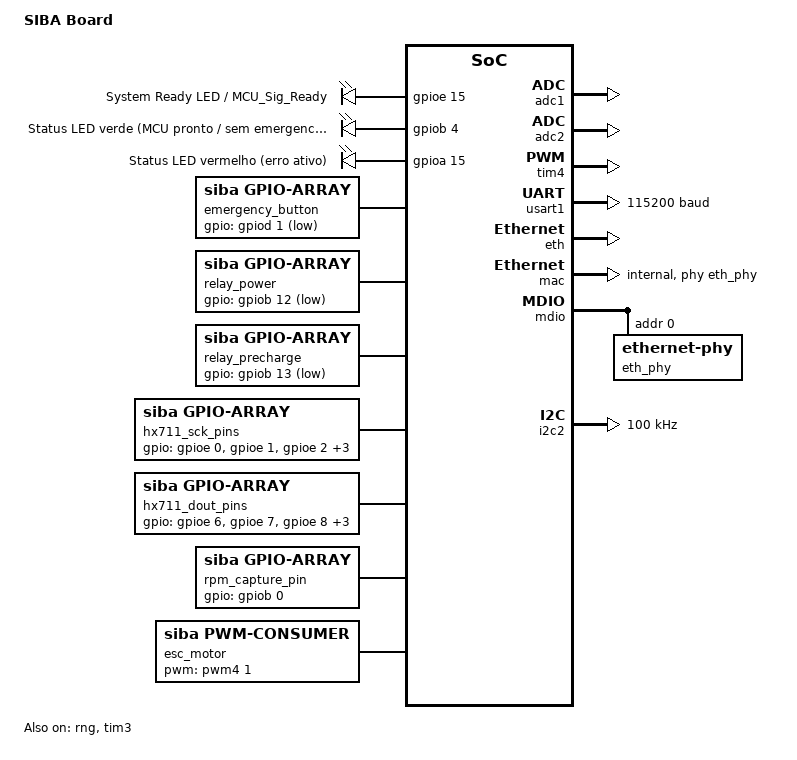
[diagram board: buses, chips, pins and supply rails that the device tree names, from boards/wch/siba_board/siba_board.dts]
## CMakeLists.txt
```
cmake_minimum_required(VERSION 3.20.0)
find_package(Zephyr REQUIRED HINTS $ENV{ZEPHYR_BASE})
project(SIBA)

# Modo native_sim / POSIX (ver CONFIG_ARCH_POSIX): a placa real (CH32V307 +
# driver ADC custom + GPIO bit-bang + PWM/TIM4 + TIM3 + Ethernet MAC) não
# existe nesse alvo — mas em vez de manter um HAL paralelo (HAL_mock.c,
# removido), HAL.c roda nos dois alvos: ADC usa o emulador in-tree
# zephyr,adc-emul sob o MESMO nodelabel `adc1` (ver native_sim.overlay/
# native_sim.conf — API genérica adc_channel_setup/adc_read_async, sem
# alteração); ESC/RPM/HX711 (PWM, TIM3 raw-MMIO, GPIO bit-bang — sem
# substituto in-tree viável fora do framework de teste FFF) ganham pequenos
# blocos `#ifdef CONFIG_ARCH_POSIX` sintéticos isolados dentro do próprio
# HAL.c. NCI.c continua o mesmo nos dois alvos: em native_sim,
# boards/native_sim.conf liga os "Offloaded sockets" (NSOS), que repassam
# zsock_socket/bind/sendto direto para os sockets BSD do host (127.0.0.1) —
# então o firmware troca pacotes UDP de verdade com Aplicacao_Pi sem
# precisar de hardware. Ver CLAUDE.md/HW.md "Mock mode (native_sim)" e
# Aplicacao_Pi/CLAUDE.md.
target_sources(app PRIVATE
    src/main.c

    # OS
    lib/OS/OSSI.c
    lib/OS/TCKEC.c
    lib/OS/NCI.c
    lib/OS/HAL.c
    lib/OS/CMD_Core.c

    # SYS
    lib/SYS/Sys.c
    lib/SYS/Battery_Manager.c
    lib/SYS/Propeller_Manager.c
    lib/SYS/Security_Manager.c
    lib/SYS/Log_Manager.c
    # Ferramenta de bancada — fora do produto final (ver Kconfig).
    $<$<BOOL:${CONFIG_SIBA_TEST_SHELL}>:lib/SYS/Test_Shell.c>
    lib/SYS/NVM.c
    lib/SYS/Observer_Manager.c
)

if(NOT CONFIG_ARCH_POSIX)
    # Driver ADC out-of-tree — adicionado direto em `app` (linkado com
    # --whole-archive) em vez de zephyr_library_named(): uma lib estática
    # separada não entrava na linha de link de zephyr_pre0.elf, então o
    # linker descartava adc_ch32v307.c por completo e `adc1` acabava
    # resolvendo para o driver upstream adc_ch32v00x.c (também
    # DT_DRV_COMPAT wch_adc, compilado incondicionalmente) — síncrono-only,
    # sem .read_async, causando jalr por ponteiro NULL em
    # HAL_thread_ADC_fn (ver CONFIG_ADC_CH32V00X=n em prj.conf).
    target_sources(app PRIVATE drivers/adc/adc_ch32v307.c)

    # Caminho quente (observador a cada quadro de 6,83 µs): -O2 em vez do -Os
    # global, e -fno-math-errno para o sqrtf virar fsqrt.s (sem chamada).
    # Medido com -Os: 9,2 µs por quadro, lotes descartados.
    set_source_files_properties(lib/SYS/Observer_Manager.c lib/OS/HAL.c
        PROPERTIES COMPILE_OPTIONS "-O2;-fno-math-errno")

    # Amostragem de 41,5 ciclos (código 4): quadro = 3 × (41,5 + 12,5) / 18 MHz
    # = 9,0 µs, lote de 256 = 2304 µs. Com 28,5 ciclos o lote era 1750 µs e o
    # observador (~1475 µs por lote) deixava só 16 % de folga. Mudou aqui,
    # mudar OBS_TS_NS (Observer_Manager.h) e refazer o autotune com o Ts novo.
    target_compile_definitions(app PRIVATE CH32_ADC_SMP=4)

    # O ADC da SIBA mede as fases do motor (mesma cadeia da SAME): usa os
    # padrões do driver, SMP = 28,5 ciclos (quadro de ~6,58 µs) e lotes de
    # 256 quadros (~1,7 ms por interrupção), igual à SAME.
endif()

target_include_directories(app PRIVATE
    lib/OS
    lib/Application
    lib/SYS
    drivers
)
```

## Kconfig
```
mainmenu "SIBA Firmware"

source "Kconfig.zephyr"

menu "SIBA application"

config SIBA_NET_STATUS_UART
	bool "Imprime status de rede e telemetria na UART a cada 5 s"
	default n
	help
	  Quando habilitado, um worker na siba_wq imprime a cada 5 s:
	  status da conexão, IP configurado, células de carga, bateria,
	  rpm e error_code. Útil para bancada sem a GUI conectada.

endmenu
```

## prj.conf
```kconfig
CONFIG_GPIO=y
CONFIG_PINCTRL=y
CONFIG_PWM=y
CONFIG_COUNTER=y
CONFIG_REBOOT=y
CONFIG_I2C=y
CONFIG_SPI=y

# ADC
CONFIG_ADC=y
CONFIG_ADC_ASYNC=y
CONFIG_ADC_LOG_LEVEL_DBG=n
# Driver upstream adc_ch32v00x.c também usa DT_DRV_COMPAT "wch,adc" e tem
# "default y depends on DT_HAS_WCH_ADC_ENABLED" — sem desabilitar aqui, ele
# vence a ligação com o nó `adc1` (é compilado incondicionalmente como parte
# da lib zephyr) e o linker descarta nosso libadc_ch32v307.a por completo
# (nada mais referencia símbolos só definidos nele). Resultado: adc1 fica
# associado à API do ch32v00x, que é síncrona only (sem .read_async) — uma
# chamada a adc_read_async() vira um jalr através de ponteiro NULL, que pula
# para o flash aliasado em 0x0 e reentra no código de boot, corrompendo o
# .bss em runtime (causa real do crash mcause=6/mtval=0x828067).
CONFIG_ADC_CH32V00X=n

# Rede
CONFIG_NETWORKING=y
CONFIG_NET_IPV4=y
CONFIG_NET_UDP=y
CONFIG_NET_L2_ETHERNET=y
CONFIG_NET_CONFIG_SETTINGS=y
CONFIG_NET_CONFIG_INIT_TIMEOUT=0
CONFIG_NET_CONFIG_MY_IPV4_ADDR="169.254.97.200"
CONFIG_NET_CONFIG_MY_IPV4_NETMASK="255.255.0.0"
CONFIG_NET_CONFIG_PEER_IPV4_ADDR="169.254.255.255"
CONFIG_NET_SOCKETS=y

# Build
CONFIG_ENTROPY_GENERATOR=y
CONFIG_TEST_RANDOM_GENERATOR=y
CONFIG_BUILD_OUTPUT_BIN=y

# LOGs e USART
CONFIG_CONSOLE=y
CONFIG_SERIAL=y
CONFIG_UART_CONSOLE=y
CONFIG_LOG_BACKEND_UART=y
CONFIG_LOG=y
CONFIG_LOG_DEFAULT_LEVEL=3
CONFIG_PRINTK=y

# Shell de teste (lib/SYS/Test_Shell.c) — usa o backend serial sobre o
# zephyr,shell-uart já declarado no .dts (mesmo UART do console/log).
# Ferramenta de bancada: no produto final, zerar os TRÊS.
CONFIG_SHELL=n


CONFIG_HEAP_MEM_POOL_SIZE=8192

# Ponto flutuante: HAL, HX711, calibração usam float. cbprintf para %f nos logs.
CONFIG_FPU=y
CONFIG_FPU_SHARING=y
CONFIG_CBPRINTF_FP_SUPPORT=y

# Log buffer padrão (1024 B) causa "N messages dropped" no boot com FPU_SHARING
CONFIG_LOG_BUFFER_SIZE=4096

# ISR de DMA com FPU_SHARING salva 32 regs FP — stack padrão insuficiente
CONFIG_ISR_STACK_SIZE=4096

# Sysworkq processa ETH carrier_on (~1-2 ms) enquanto a ISR de ADC dispara a
# ~150 kHz. Com FPU_SHARING cada ISR salva 32 regs FP (128 B) na stack da
# thread interrompida. Stack padrão (4096 B) transborda → carrier_on falha em
# silêncio → IF_UP nunca dispara → rede fica OFFLINE para sempre.
CONFIG_SYSTEM_WORKQUEUE_STACK_SIZE=8192

# A logging_thread formata %f com FPU_SHARING ativo — stack padrão insuficiente
CONFIG_LOG_PROCESS_THREAD_STACK_SIZE=2048
CONFIG_STACK_SENTINEL=y
CONFIG_THREAD_NAME=y
CONFIG_MAIN_STACK_SIZE=8192

# Idle thread: com FPU_SHARING o _isr_wrapper salva 80 B de ESF na stack da
# thread interrompida — stack padrão de 256 B pode extrapolar no fim da RAM.
CONFIG_IDLE_STACK_SIZE=512

# Debug de bancada: imprime status de rede + telemetria na UART a cada 5 s.
# Desligado: a cada 5 s a aquisição do ADC ficava 40–65 ms sem interrupção
# (medido com o vetor de eventos); testando se a causa é esta impressão.
CONFIG_SIBA_NET_STATUS_UART=n

# Sequência de energização: tempo entre fechar a pré-carga (PB13) e fechar a
# potência (PB12). Rpc=100 ohm e Cesc=2000 uF dão tau=0,2 s (critério de
# projeto: 5 tau = 1 s); os 5 s abaixo são margem, a refinar em bancada.
CONFIG_SIBA_RELAY_PRECHARGE_MS=5000
```

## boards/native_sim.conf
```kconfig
# Overlay de configuração para `west build -b native_sim` (modo mock —
# ver CLAUDE.md/HW.md "Mock mode (native_sim)"). Sobrepõe prj.conf.
#
# native_sim roda o firmware como um binário POSIX comum (host Linux) —
# não existe CH32V307, ADC custom, GPIO bit-bang do HX711, PWM/TIM4 do ESC,
# TIM3 de RPM nem MAC Ethernet. HAL_mock.c substitui HAL.c (ver
# CMakeLists.txt: `if(NOT CONFIG_ARCH_POSIX)`) e não usa nenhum driver de
# hardware — só gera dados sintéticos e publica via OSSI.
#
# REDE: em vez de desligar (como antes), usamos os "Offloaded sockets" do
# Native Simulator (NSOS) — ver doc/connectivity/networking/native_sim_setup.rst
# "Using offloaded sockets". O zsock_socket()/bind()/sendto() de NCI.c são
# redirecionados DIRETO para os sockets BSD do host Linux — sem TAP, sem
# privilégio root, sem stack de rede do Zephyr. O processo do firmware vira
# literalmente "mais um programa" no localhost: `127.0.0.1`. Com isso, o
# app Python (Aplicacao_Pi/Communication_Data/Ethernet.py) consegue trocar
# pacotes UDP de verdade com o firmware rodando como binário no host — ver
# CLAUDE.md "Modo Mock (native_sim)" e Aplicacao_Pi/CLAUDE.md.
CONFIG_ETH_NATIVE_TAP=n
CONFIG_NET_L2_ETHERNET=n
CONFIG_NET_DRIVERS=y
CONFIG_NETWORKING=y
CONFIG_NET_IPV4=y
CONFIG_NET_UDP=y
CONFIG_NET_SOCKETS=y
CONFIG_NET_SOCKETS_OFFLOAD=y
CONFIG_NET_NATIVE_OFFLOADED_SOCKETS=y
CONFIG_NET_IPV6_DAD=n

# IPs "internos" do host (loopback) — substituem os link-local fixos da
# placa real (169.254.97.x, que dependem do MAC Ethernet físico).
# NCI.c referencia esses símbolos diretamente (zsock_inet_pton); manter
# CONFIG_NET_CONFIG_SETTINGS=y só para que eles tenham valor — o NSOS não
# usa interface/endereço configurado, ele repassa os sockets ao host.
# IP de loopback DISTINTO por placa (último octeto do IP link-local real
# 169.254.97.200 -> 127.0.0.200), para SIBA e SAME não compartilharem o mesmo
# 127.0.0.1 ao rodar juntos em native_sim. A Aplicacao_Pi usa o mesmo
# mapeamento (ver Communication_Data/manager.py::_native_loopback).
CONFIG_NET_CONFIG_SETTINGS=y
CONFIG_NET_CONFIG_MY_IPV4_ADDR="127.0.0.200"
CONFIG_NET_CONFIG_PEER_IPV4_ADDR="127.0.0.200"
CONFIG_NET_CONFIG_NEED_IPV4=y

# O driver custom adc_ch32v307 (out-of-tree, MMIO+DMA do CH32V307) não
# compila para native_sim — mas em vez de desligar o ADC e trocar HAL.c
# inteiro por um mock (abordagem antiga, HAL_mock.c), ligamos o emulador
# ADC in-tree do Zephyr (CONFIG_ADC_EMUL) sob o MESMO nodelabel `adc1`
# (ver boards/native_sim.overlay) — HAL.c usa só a API genérica
# adc_channel_setup/adc_read_async, então roda sem nenhuma alteração.
# CONFIG_ADC_ASYNC continua ligado pois HAL_thread_ADC_fn usa adc_read_async.
CONFIG_ADC=y
CONFIG_ADC_ASYNC=y
CONFIG_ADC_EMUL=y
CONFIG_ADC_LOG_LEVEL_DBG=n

# I2C1 (PB8/PB9 remap, ver HAL_I2C_*) — driver wch,i2c não compila para
# native_sim, mas o nodelabel `i2c1` existe via zephyr,i2c-emul-controller
# (ver boards/native_sim.overlay), mesma estratégia do ADC acima. CONFIG_EMUL
# é o framework genérico de dispositivos emulados exigido por CONFIG_I2C_EMUL.
CONFIG_I2C=y
CONFIG_EMUL=y
CONFIG_I2C_EMUL=y

# PWM (ESC/TIM4) e Counter (RPM/TIM3) NÃO têm substituto in-tree viável
# para um build de firmware normal:
#   - zephyr,fake-pwm (CONFIG_PWM_FAKE) é FFF-based e exige
#     subsys/testsuite/include/zephyr/fff.h — só existe em builds
#     Twister/ztest, não em app comum (erro: "zephyr/fff.h: arquivo
#     inexistente" ao tentar habilitar aqui)
#   - HAL.c acessa o TIM3 (RPM) via MMIO bruto em endereço físico fixo
#     (0x40000400 — não existe em POSIX) e não há driver Zephyr para o
#     compatible "wch,gptm-counter" usado no .dts real
# Por isso esses dois ficam DESLIGADOS aqui — em vez de um nó/driver
# emulado, HAL_ESC_*/HAL_RPM_* ganham um pequeno bloco
# `#ifdef CONFIG_ARCH_POSIX` dentro do próprio HAL.c (modelo synthetic
# equivalente ao do antigo HAL_mock.c, isolado e mínimo — só essas duas
# peças realmente não têm como rodar "sem mudança nenhuma" em POSIX).
#
# CONFIG_GPIO continua ligado: native_sim tem gpio_emul, usado pelo
# fallback do relé em Battery_Manager (DT_ALIAS(relay0) ausente).
CONFIG_PINCTRL=n
CONFIG_PWM=n
CONFIG_COUNTER=n

# Sem isso, todo "%f"/"%.2f" em LOG_*/shell_print sai como texto literal
# (CBPRINTF_FP_SUPPORT default é "y if FPU", e FPU não vem ligado por
# padrão em native_sim mesmo o host tendo FPU de verdade) — quase todo
# log/print do SIBA usa float (sensores, calibração, etc.), então sem
# isso o shell fica ilegível em native_sim.
CONFIG_FPU=y

# prj.conf liga CONFIG_LOG_BACKEND_UART=y para a placa real (único backend
# de log lá). Em native_sim o board já seleciona CONFIG_LOG_BACKEND_NATIVE_POSIX
# por padrão (escreve direto no stdout do host, sem passar pelo driver de
# UART) — com os dois backends ativos ao mesmo tempo cada linha de log saía
# duplicada E competia pelo mesmo UART usado pelo shell (CONFIG_SHELL_BACKEND_SERIAL),
# o que impedia o prompt "uart:~$" de aparecer/funcionar com `-uart_stdinout`.
# Desligamos o backend de UART aqui para deixar o UART livre só para o shell.
CONFIG_LOG_BACKEND_UART=n

# O shell fica desligado na placa (economia de memória), mas o native_sim o
# usa para o comando btn e para `<placa> native shell`.
CONFIG_SHELL=y
CONFIG_SHELL_BACKEND_SERIAL=y
CONFIG_SIBA_TEST_SHELL=y
```

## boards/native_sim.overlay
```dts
#include <zephyr/dt-bindings/i2c/i2c.h>
#include <zephyr/dt-bindings/gpio/gpio.h>

/*
 * Overlay de devicetree para `west build -b native_sim`.
 *
 * Na SIBA, o HAL usa ISR callback do driver adc_ch32v307 (não adc_emul) e
 * o path native_sim contorna o ADC completamente via timer + writes diretos
 * nos atomics adc1_raw[]/adc2_raw[]. Por isso não é necessário nó adc-emul.
 *
 * i2c2 → zephyr,i2c-emul-controller, mesmo nodelabel que siba_board.dts usa
 * (PB10/PB11). Sem dispositivos I2C reais no barramento emulado:
 * HAL_I2C_Read/Write/Scan funcionam, apenas não encontram nada a responder.
 *
 * Relay e GPIO de hardware (PB12/PB13) → stubs #ifdef CONFIG_ARCH_POSIX no
 * HAL.c (sem nó DTS necessário no overlay).
 *
 * ESC/RPM/HX711 continuam com seus blocos #ifdef CONFIG_ARCH_POSIX dentro
 * do HAL.c (sem equivalente in-tree utilizável fora de builds Twister/ztest).
 */

/ {
    i2c2: i2c@120 {
        compatible = "zephyr,i2c-emul-controller";
        reg = <0x120 4>;
        clock-frequency = <I2C_BITRATE_STANDARD>;
        #address-cells = <1>;
        #size-cells = <0>;
        #forward-cells = <1>;
        status = "okay";
    };
};

/*
 * LEDs de status sobre o GPIO emulado (gpio0).
 *
 * Security_Manager.c usa `led_red` e NCI.c usa `led_green` com
 * GPIO_DT_SPEC_GET direto, sem guarda #ifdef CONFIG_ARCH_POSIX — diferente
 * do HAL, que estubla tudo. Sem estes dois nodelabels o build de native_sim
 * não liga. Na siba_board são PA15 e PB4; aqui, pinos do gpio_emul a partir
 * do 1 (o 0 já é o led_0 que a própria native_sim declara).
 */
&leds {
    led_red: led_red {
        gpios = <&gpio0 1 GPIO_ACTIVE_HIGH>;
        label = "LED vermelho (emulado)";
    };

    led_green: led_green {
        gpios = <&gpio0 2 GPIO_ACTIVE_HIGH>;
        label = "LED verde (emulado)";
    };
};
```

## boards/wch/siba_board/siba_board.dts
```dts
/dts-v1/;
#include <wch/ch32v307/ch32v307vc.dtsi>
#include <zephyr/dt-bindings/gpio/gpio.h>
#include <zephyr/dt-bindings/pinctrl/ch32v20x_30x-pinctrl.h>
#include <zephyr/dt-bindings/pwm/pwm.h>
#include <zephyr/dt-bindings/clock/ch32v20x_30x-clocks.h>
#include <zephyr/dt-bindings/i2c/i2c.h>
#include <zephyr/dt-bindings/spi/spi.h>

#define CH32V20X_V30X_PINMUX_ADC1_RM 0
#define CH32V20X_V30X_PINMUX_ADC2_RM 0
/* I2C2 não tem remap no AFIO (pinos fixos PB10/PB11) */
#define CH32V20X_V30X_PINMUX_I2C2_RM 0

/ {
    model = "SIBA Board";
    compatible = "wch,ch32v307";

    chosen {
        zephyr,sram = &sram0;
        zephyr,flash = &flash0;
        zephyr,console = &usart1;
        zephyr,shell-uart = &usart1;
    };

    aliases {
        led0 = &ready_pin;
    };

    /* PE15 — saída: LED EXTERNO de "sistema pronto" (MCU_Sig_Ready).
     * Aceso quando não há emergência ativa nem erro no error_code; é o
     * sinal visual de que o operador pode rodar o ensaio. Acionado pelo
     * Security_Manager via HAL_Ready_Led_Set(). */
    leds {
        compatible = "gpio-leds";
        ready_pin: ready_pin {
            gpios = <&gpioe 15 GPIO_ACTIVE_HIGH>;
            label = "System Ready LED / MCU_Sig_Ready";
        };
        led_green: led_green {
            gpios = <&gpiob 4 GPIO_ACTIVE_HIGH>;
            label = "Status LED verde (MCU pronto / sem emergencia)";
        };
        led_red: led_red {
            gpios = <&gpioa 15 GPIO_ACTIVE_HIGH>;
            label = "Status LED vermelho (erro ativo)";
        };
    };

    /* PD1 — entrada: SINAL DE EMERGÊNCIA (circuito externo).
     * Nível físico no pino: 0 V = desliga (emergência), 3 V = liga (pode
     * rodar) — o sinal de "liga" é ativo alto. O nó descreve a EMERGÊNCIA,
     * então GPIO_ACTIVE_LOW: a API lógica do Zephyr (gpio_pin_get_dt)
     * devolve 1 quando o pino está em 0 V — o HAL não repete a inversão.
     * Configurado com pull-DOWN interno: fio rompido/solto = 0 V =
     * emergência (falha segura). */
    emergency_button: emergency-button {
        compatible = "siba,gpio-array";
        gpios = <&gpiod 1 GPIO_ACTIVE_LOW>;
    };

    /* ── Relés de potência ─────────────────────────────────────────────── *
     * Sequência de energização obrigatória (ver Security_Manager):         *
     *   LIGAR:   relay_precharge ON → espera 3 s → relay_power ON         *
     *   DESLIGAR: relay_power OFF → relay_precharge OFF                   *
     * A pré-carga limita a corrente de inrush nos capacitores do ESC.    *
     * Lógica INVERTIDA no driver dos relés: 0 no pino = relé fechado.    *
     * GPIO_ACTIVE_LOW absorve a inversão — o HAL continua usando         *
     * gpio_pin_set_dt(…, 1) para "fechar" e GPIO_OUTPUT_INACTIVE (pino   *
     * em 1) para abrir no boot.                                          */
    relay_power: relay-power {
        compatible = "siba,gpio-array";
        gpios = <&gpiob 12 GPIO_ACTIVE_LOW>;
    };

    relay_precharge: relay-precharge {
        compatible = "siba,gpio-array";
        gpios = <&gpiob 13 GPIO_ACTIVE_LOW>;
    };

    /* ── ADC dual simultâneo (master=ADC1, slave=ADC2) ─────────────────── *
     * ⚠ NÃO MONTADO nesta versão da placa (tempo de montagem): o uso está  *
     * desligado em lib/OS/HAL_prm.h (HAL_DISABLE_ADC). Os nós ficam aqui   *
     * para religar sem mexer no DTS.                                       *
     * ADC1 master: PA0=Pitot, PA1=termistor_bat, PA3=termistor_motor       *
     * ADC2 slave:  PC3=v_batt, PC4=i_batt, PC2=reserva                    *
     * ADC2 não tem linha DMA própria no CH32V307 — o resultado sai pela    *
     * transferência de 32 bits do ADC1 (bits [31:16]=ADC2, [15:0]=ADC1).  *
     * O driver detecta modo dual pela ausência de `dmas` no nó adc2.      */
    adc1: adc@40012400 {
        compatible = "wch,adc";
        reg = <0x40012400 0x400>;
        clocks = <&rcc CH32V20X_V30X_CLOCK_ADC1>;
        interrupt-parent = <&pfic>;
        interrupts = <34>;
        dmas = <&dma1 1>;
        dma-names = "rx";
        pinctrl-0 = <&adc1_default>;
        pinctrl-names = "default";
        status = "okay";
        #io-channel-cells = <1>;
    };

    adc2: adc@40012800 {
        compatible = "wch,adc";
        reg = <0x40012800 0x400>;
        clocks = <&rcc CH32V20X_V30X_CLOCK_ADC2>;
        interrupt-parent = <&pfic>;
        interrupts = <34>;
        pinctrl-0 = <&adc2_default>;
        pinctrl-names = "default";
        status = "okay";
        #io-channel-cells = <1>;
    };

    /* ── HX711 × 6 células de carga ────────────────────────────────────── *
     * PE0..PE5 = PD_SCK (clock, saída)  — uma por célula                   *
     * PE6..PE11 = DOUT  (dado serial, entrada) — uma por célula            */
    hx711_sck_pins: hx711-sck-pins {
        compatible = "siba,gpio-array";
        gpios = <&gpioe 0 GPIO_ACTIVE_HIGH>,
                <&gpioe 1 GPIO_ACTIVE_HIGH>,
                <&gpioe 2 GPIO_ACTIVE_HIGH>,
                <&gpioe 3 GPIO_ACTIVE_HIGH>,
                <&gpioe 4 GPIO_ACTIVE_HIGH>,
                <&gpioe 5 GPIO_ACTIVE_HIGH>;
    };

    hx711_dout_pins: hx711-dout-pins {
        compatible = "siba,gpio-array";
        gpios = <&gpioe 6  GPIO_ACTIVE_HIGH>,
                <&gpioe 7  GPIO_ACTIVE_HIGH>,
                <&gpioe 8  GPIO_ACTIVE_HIGH>,
                <&gpioe 9  GPIO_ACTIVE_HIGH>,
                <&gpioe 10 GPIO_ACTIVE_HIGH>,
                <&gpioe 11 GPIO_ACTIVE_HIGH>;
    };

    /* ── RPM (TIM3 CH3 / PB0, input capture) ────────────────────────── */
    rpm_capture_pin: rpm-capture-pin {
        compatible = "siba,gpio-array";
        gpios = <&gpiob 0 GPIO_ACTIVE_HIGH>;
    };

    /* ── ESC PWM (TIM4 CH1 / PB6, 50 Hz) ───────────────────────────── */
    tim3: timer@40000400 {
        compatible = "wch,gptm";
        reg = <0x40000400 0x400>;
        clocks = <&rcc CH32V20X_V30X_CLOCK_TIM3>;
        interrupt-parent = <&pfic>;
        interrupts = <45>;
        channels = <4>;
        status = "okay";
        prescaler = <0>;
    };

    tim4: timer@40000800 {
        compatible = "wch,gptm";
        reg = <0x40000800 0x400>;
        clocks = <&rcc CH32V20X_V30X_CLOCK_TIM4>;
        interrupt-parent = <&pfic>;
        interrupts = <46>;
        channels = <4>;
        prescaler = <143>;
        status = "okay";

        pwm4: pwm {
            compatible = "wch,gptm-pwm";
            #pwm-cells = <3>;
            pinctrl-0 = <&tim4_ch1_default>;
            pinctrl-names = "default";
            status = "okay";
        };
    };

    esc_motor: esc-motor {
        compatible = "siba,pwm-consumer";
        pwms = <&pwm4 1 PWM_USEC(20000) PWM_POLARITY_NORMAL>;
    };

};

/* ==================================================================== *
 * PINCTRL                                                               *
 * ==================================================================== */

&pinctrl {

    /* ADC1 master: PA0=CH0(Pitot), PA1=CH1(termistor_bat), PA3=CH3(termistor_motor)
     * PA2 é CS do W25Q — não usar como ADC.
     * PA5/PA6/PA7 são SPI1 (W25Q) — não usar como ADC.                    */
    adc1_default: adc1_default {
        group1 { pinmux = <CH32V20X_V30X_PINMUX_DEFINE(PA, 0, ADC1, 0)>; };  /* CH0  - Pitot (air_speed) */
        group2 { pinmux = <CH32V20X_V30X_PINMUX_DEFINE(PA, 1, ADC1, 0)>; };  /* CH1  - termistor bateria */
        group3 { pinmux = <CH32V20X_V30X_PINMUX_DEFINE(PA, 3, ADC1, 0)>; };  /* CH3  - termistor motor */
    };

    /* ADC2 slave (dual mode, sem DMA próprio):
     * PC3=CH13(v_batt), PC4=CH14(i_batt), PC2=CH12(reserva)
     * PC0/PC1 são LinkLED/ACTLED do PHY ETH interno — não usar como ADC. */
    adc2_default: adc2_default {
        group1 { pinmux = <CH32V20X_V30X_PINMUX_DEFINE(PC, 3, ADC2, 0)>; };  /* CH13 - v_batt */
        group2 { pinmux = <CH32V20X_V30X_PINMUX_DEFINE(PC, 4, ADC2, 0)>; };  /* CH14 - i_batt */
        group3 { pinmux = <CH32V20X_V30X_PINMUX_DEFINE(PC, 2, ADC2, 0)>; };  /* CH12 - reserva */
    };

    /* SPI1 — W25Q flash (PA5=SCK, PA6=MISO, PA7=MOSI; PA2=CS via GPIO) */
    spi1_default: spi1_default {
        group1 {
            pinmux = <CH32V20X_V30X_PINMUX_DEFINE(PA, 5, SPI1, 0)>;  /* SCK  */
            drive-push-pull;
            slew-rate = "max-speed-50mhz";
        };
        group2 {
            pinmux = <CH32V20X_V30X_PINMUX_DEFINE(PA, 6, SPI1, 0)>;  /* MISO */
            bias-pull-up;
        };
        group3 {
            pinmux = <CH32V20X_V30X_PINMUX_DEFINE(PA, 7, SPI1, 0)>;  /* MOSI */
            drive-push-pull;
            slew-rate = "max-speed-50mhz";
        };
    };

    /* I2C2 — EEPROM FT24C32A (PB10=SCL, PB11=SDA) + expansão futura.
     * Open-drain com pull-up externo. PB11 não conflita com relay_precharge
     * (PB13) — são pinos distintos.                                       */
    i2c2_default: i2c2_default {
        group1 {
            pinmux = <CH32V20X_V30X_PINMUX_DEFINE(PB, 10, I2C2, 0)>;
            output-high;
            drive-open-drain;
        };
        group2 {
            pinmux = <CH32V20X_V30X_PINMUX_DEFINE(PB, 11, I2C2, 0)>;
            output-high;
            drive-open-drain;
        };
    };

    usart1_default: usart1_default {
        group1 {
            pinmux = <USART1_TX_PA9_0>;
            output-high;
            drive-push-pull;
            slew-rate = "max-speed-10mhz";
        };
        group2 {
            pinmux = <USART1_RX_PA10_0>;
            bias-pull-up;
        };
    };

    /* PB0 sem pull — o sensor de RPM define o nível. */
    tim3_ch3_pb0: tim3_ch3_pb0 {
        group1 {
            pinmux = <CH32V20X_V30X_PINMUX_DEFINE(PB, 0, TIM3, 0)>;
        };
    };

    tim4_ch1_default: tim4_ch1_default {
        group1 {
            pinmux = <CH32V20X_V30X_PINMUX_DEFINE(PB, 6, TIM4, 0)>;
            drive-push-pull;
            slew-rate = "max-speed-50mhz";
        };
    };

    mac_default: mac_default {
        mac_internal_rxp {
            pinmux = <CH32V20X_V30X_PINMUX_DEFINE(PC, 6, ETH, 0)>;
            slew-rate = "max-speed-50mhz";
        };
        mac_internal_rxn {
            pinmux = <CH32V20X_V30X_PINMUX_DEFINE(PC, 7, ETH, 0)>;
            slew-rate = "max-speed-50mhz";
        };
        mac_internal_txp {
            pinmux = <CH32V20X_V30X_PINMUX_DEFINE(PC, 8, ETH, 0)>;
            slew-rate = "max-speed-50mhz";
        };
        mac_internal_txn {
            pinmux = <CH32V20X_V30X_PINMUX_DEFINE(PC, 9, ETH, 0)>;
            slew-rate = "max-speed-50mhz";
        };
    };

    mdio_default: mdio_default {
        /* PHY interno — sem pinos MDIO externos */
    };
};

/* ==================================================================== *
 * CLOCKS / PERIFÉRICOS                                                  *
 * ==================================================================== */

&clk_hse { status = "okay"; };
&pll { clocks = <&clk_hse>; status = "okay"; };
&rcc { clocks = <&pll>; };

&gpioa { status = "okay"; };
&gpiob { status = "okay"; };
&gpioc { status = "okay"; };
&gpiod { status = "okay"; };
&gpioe { status = "okay"; };

/* dma1 "disabled" como controller genérico Zephyr: o driver adc_ch32v307.c
 * faz MMIO direto no DMA1, não usa a API genérica. Com dma1 "okay" o
 * dma_wch.c registra seu handler na IRQ27 e o driver ADC sobrescreve depois
 * (race). Manter "disabled" e deixar o driver ADC dono da IRQ.           */
&dma1 { status = "disabled"; };

&usart1 {
    status = "okay";
    current-speed = <115200>;
    pinctrl-0 = <&usart1_default>;
    pinctrl-names = "default";
};

&eth { status = "okay"; };

&mac {
    status = "okay";
    pinctrl-0 = <&mac_default>;
    pinctrl-names = "default";
    phy-connection-type = "internal";
    phy-handle = <&eth_phy>;
    local-mac-address = [02 00 00 02 03 03];
    internal-phy-pllmul = "15";
    internal-phy-prediv = "2";
};

&mdio {
    status = "okay";
    pinctrl-0 = <&mdio_default>;
    pinctrl-names = "default";
    eth_phy: ethernet-phy@0 {
        compatible = "ethernet-phy";
        reg = <0x00>;
    };
};

&rng { status = "okay"; };

/* EEPROM FT24C32A (I2C2, 4 KB) — A0=A1=A2=GND → endereço 0x50. */
&i2c2 {
    status = "okay";
    pinctrl-0 = <&i2c2_default>;
    pinctrl-names = "default";
    clock-frequency = <I2C_BITRATE_STANDARD>;
};

/* SPI1 — W25Q flash (dados de logging / configuração extra).
 * CS gerenciado via GPIO PA2 (GPIO_ACTIVE_LOW, controlado em software).  */
&spi1 {
    status = "disabled";
    pinctrl-0 = <&spi1_default>;
    pinctrl-names = "default";
    cs-gpios = <&gpioa 2 GPIO_ACTIVE_LOW>;
};

&sram0 { reg = <0x20000000 DT_SIZE_K(128)>; };
&flash0 { reg = <0x08000000 DT_SIZE_K(198)>; };
```

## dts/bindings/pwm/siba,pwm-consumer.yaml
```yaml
description: |
  Consumidor genérico de um único canal PWM (ex.: ESC do propulsor).

compatible: "siba,pwm-consumer"

properties:
  pwms:
    type: phandle-array
    required: true
    description: Especificador do canal PWM (controlador, canal, período, polaridade)
```

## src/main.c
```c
/**
 * @file main.c
 * @brief Ponto de entrada do firmware da SIBA: ordem de inicialização dos
 * subsistemas.
 */
#include <zephyr/kernel.h>
#include <zephyr/logging/log.h>
#include <zephyr/device.h>

/* OS */
#include "OSSI.h"
#include "NCI.h"
#include "HAL.h"
#include "CMD_Core.h"

/* SYS */
#include "Battery_Manager.h"
#include "Propeller_Manager.h"
#include "Security_Manager.h"
#include "Log_Manager.h"
#include "NVM.h"
/* Test_Shell.c registra comandos no Zephyr Shell estaticamente — basta estar
 * linkado (ver lib/SYS/Test_Shell.c), nenhum include/init aqui é necessário */

LOG_MODULE_REGISTER(siba_main, LOG_LEVEL_INF);

/* I2C2 (PB10=SCL, PB11=SDA) — EEPROM FT24C32A em 0x50. */
#define SIBA_I2C_NODE   DT_NODELABEL(i2c2)
#define SIBA_EEPROM_ADDR  0x50U

/**
 * @brief Inicializa todos os subsistemas em ordem e habilita o tráfego de
 * rede. HAL_Init falhando não impede o boot. NVM_Init falhando (EEPROM
 * ausente) é tolerado — defaults de fábrica permanecem ativos.
 * @return 0 sempre (Zephyr chama main() uma vez e segue no scheduler)
 */
int main(void)
{
    LOG_INF("=== SIBA Board — Iniciando ===");

    /* 1. OSSI primeiro — arranca siba_wq (toda a lógica de despacho depende dele) */
    OSSI_Init();

    /* 2. SYS — inicializa subsistemas antes de receber dados.
     * Security_Manager_Init seta ERROR_MCU_POWER_READY (relay aberto ao boot). */
    Security_Manager_Init();
    Battery_Manager_Init();
    Propeller_Manager_Init();

    /* 3. Log_Manager — inicializa struct e arranca timer 10 Hz */
    Log_Manager_Init();

    /* 4. CMD_Core — inicializa tabela de calibração */
    CMD_Core_Init();

    /* 5. NCI — abre socket TX e arranca thread RX */
    NCI_Init();

    /* 6. HAL — ADC dual, HX711, ESC, RPM, I2C2, relay (ambos abertos ao boot).
     * (HAL_prm.h controla quais módulos realmente inicializam hardware) */
    if (HAL_Init() != 0) {
        LOG_ERR("HAL_Init falhou — sistema degradado");
    }

    /* 7. NVM — restaura calibração persistida do EEPROM I2C2 (0x50).
     * Deve vir após HAL_Init (I2C2 e HAL_ADC/HX711 já prontos).
     * Falha tolerada: defaults de CMD_Core_prm.h já estão ativos. */
/* NVM_Init comentado temporariamente — wch_i2c_finish_transfer trava em
 * busy-wait se EEPROM não responde, impedindo main() de retornar. */
#if 1
#ifndef CONFIG_ARCH_POSIX
    {
        const struct device *i2c2 = DEVICE_DT_GET(SIBA_I2C_NODE);
        if (NVM_Init(i2c2, SIBA_EEPROM_ADDR) != 0) {
            LOG_WRN("NVM: EEPROM inacessível — operando com defaults de fábrica");
        }
    }
#endif
#endif

    /* NCI_Set_Connection_Status não é chamado aqui: NCI.c registra
     * um callback net_mgmt que detecta o UP/DOWN do PHY automaticamente. */

    LOG_INF("=== SIBA pronto (relay aguardando comando GUI) ===");
    return 0;
}
```

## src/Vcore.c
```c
#include <zephyr/kernel.h>
#include <zephyr/logging/log.h>
#include <stdio.h>
#include "OSSI.h"
#include "NCI.h"
#include "TCKEC.h"

LOG_MODULE_REGISTER(siba_main, LOG_LEVEL_DBG);


#define MOCK_CMD_THREAD_ID 20


void mock_cmd_thread(void *p1, void *p2, void *p3) {

    ossi_msg_t msg;
    LOG_INF("MOCK CMD Iniciado. Aguardando comandos na fila_cmd...");

    while (1) {
        if (k_msgq_get(&fila_cmd, &msg, K_FOREVER) == 0) {
            LOG_INF("MOCK CMD: Recebido pacote via OSSI RX: %s [%d bytes].",msg.payload.raw, msg.payload.cmd_req.len);
        }
    }
}

int main(void) {
    LOG_INF("\x1b[92m\n\n\n\n\n\n--- Iniciando SIBA Board Teste NCI/OSSI ---\n\n\n\n\n\n\x1b[0m");

    TCKEC_Init();

    NCI_Init(); 

    /* Solicita ao TCKEC a criação do MOCK CMD */
    ossi_msg_t req_cmd = {
        .target = TARGET_TCKEC,
        .req_type = REQ_TYPE_TCKEC_CREATE_THREAD
    };
    req_cmd.payload.tckec_req.thread_id = MOCK_CMD_THREAD_ID;
    req_cmd.payload.tckec_req.entry_point = mock_cmd_thread;
    req_cmd.payload.tckec_req.priority = 7;
    OSSI_Send(&req_cmd);

    NCI_Set_Connection_Status(true);

    uint32_t counter = 0;

    /* Loop de envio periódico para testar NCI TX */
    while (1) {
        k_sleep(K_SECONDS(2));

        ossi_msg_t tx_msg = {
            .target = TARGET_NETWORK,
            .req_type = REQ_TYPE_NET_SEND_TELEMETRY
        };
        snprintf((char *)tx_msg.payload.raw, 32, "TESTE_UDP_TX:%d", counter++);

        OSSI_Send(&tx_msg);
    }

    return 0;
}
```

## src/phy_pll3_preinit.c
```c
/*
 * Configura PLL3 + EXTEN_ETH_10M_EN em POST_KERNEL+55, antes de phy_mii_init
 * (POST_KERNEL+60). Sem PLL3 ativo, as linhas MDIO da placa flutuam para
 * 0xFFFF, o reset do PHY nunca limpa (-ETIMEDOUT), phy_mii_init retorna antes
 * de montar o monitor_work, e o link nunca sobe.
 *
 * Valores idênticos ao que eth_wch_init aplicaria depois — DTS siba_board.dts:
 *   internal-phy-pllmul = "15"  →  enum idx 13
 *   internal-phy-prediv = "2"   →  enum idx  1
 */
#ifndef CONFIG_ARCH_POSIX
#include <zephyr/kernel.h>
#include <zephyr/init.h>
#include <hal_ch32fun.h>

#define PHY_PLLMUL_IDX  13U
#define PHY_PREDIV_IDX   1U
#define WCH_PLL3MUL(m)  (((uint32_t)(m) << 0x0CU) & CFGR2_PLL3MUL)
#define WCH_PREDIV2(d)  (((uint32_t)(d) << 0x04U) & CFGR2_PREDIV2)

static int eth_phy_pll3_preinit(void)
{
    RCC->CTLR  &= ~RCC_PLL3ON;
    RCC->CFGR2 &= ~CFGR2_PREDIV2;
    RCC->CFGR2 |=  WCH_PREDIV2(PHY_PREDIV_IDX);
    RCC->CFGR2 &= ~CFGR2_PLL3MUL;
    RCC->CFGR2 |=  WCH_PLL3MUL(PHY_PLLMUL_IDX);
    RCC->CTLR  |=  RCC_PLL3ON;
    while (!(RCC->CTLR & RCC_PLL3RDY)) {}
    EXTEN->EXTEN_CTR |= EXTEN_ETH_10M_EN;
    return 0;
}
SYS_INIT(eth_phy_pll3_preinit, POST_KERNEL, 55);
#endif
```
